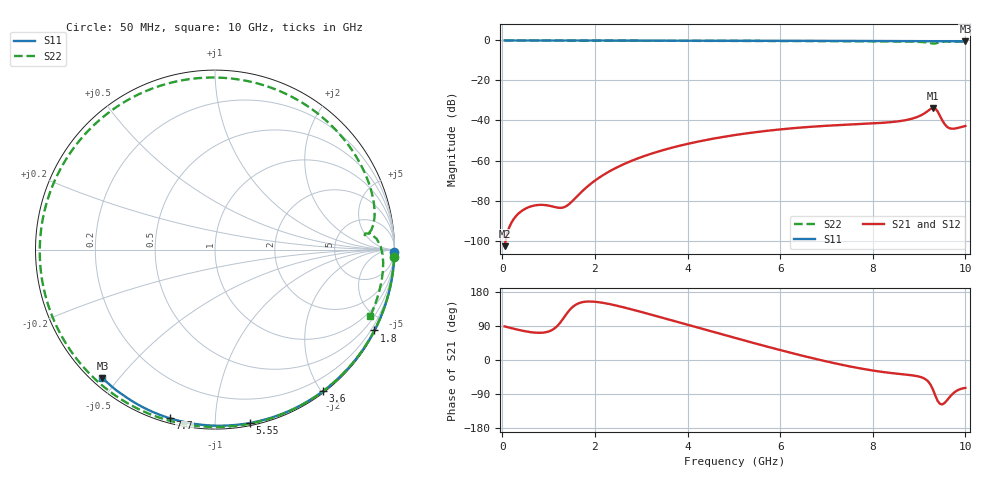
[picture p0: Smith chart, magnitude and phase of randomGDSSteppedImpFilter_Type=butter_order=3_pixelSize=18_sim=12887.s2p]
! freq	dB(S11)	phase(S11)	dB(S12)	phase(S12)
!  dB(S21)	phase(S21)	dB(S22)	phase(S22)
!S-par simulation data
#  GHz  S  DB  R 50
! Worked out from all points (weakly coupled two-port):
!   200 points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, 50 MHz to 10 GHz, reference 50 ohm
!   highest |S21| = -33.68 dB at 9.3 GHz (marker M1); lowest = -102.8 dB at 50 MHz (marker M2)
!   lowest |S11| = -0.4 dB at 10 GHz (marker M3), VSWR 39.65, Z = 1.52 - j22.6 ohm
!   |S11| at or under -10 dB: nowhere
!   |S22| runs from -1.5 to 0.0 dB; largest |S21 - S12| = 0
!   S11 on the Smith chart (normalised r, x): 50 MHz: open; 1.8 GHz: 0.04, -4.18; 3.6 GHz: 0.02, -2.02; 5.55 GHz: 0.02, -1.22; 7.7 GHz: 0.02, -0.77; 10 GHz: 0.03, -0.45
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0.05  -0.00 -0.8  -102.81 88.7  -102.81 88.7  -0.00 -2.4
0.7  -0.01 -10.6  -82.45 72.3  -82.45 72.3  -0.04 -33.1
1.5  -0.03 -22.5  -80.56 137.9  -80.56 137.9  -0.08 -68.6
1.75  -0.03 -26.2  -74.82 153.1  -74.82 153.1  -0.09 -79.1
1.8  -0.03 -26.9  -73.77 153.9  -73.77 153.9  -0.10 -81.1
2.45  -0.05 -36.4  -63.74 144.0  -63.74 144.0  -0.12 -106.5
3.4  -0.07 -49.8  -55.29 113.4  -55.29 113.4  -0.15 -140.1
3.6  -0.07 -52.6  -53.98 106.6  -53.98 106.6  -0.16 -146.8
4.35  -0.09 -62.8  -49.98 81.0  -49.98 81.0  -0.19 -171.2
5.05  -0.11 -72.1  -47.18 57.4  -47.18 57.4  -0.23 166.3
5.55  -0.13 -78.6  -45.61 40.8  -45.61 40.8  -0.26 150.0
6.1  -0.15 -85.5  -44.23 23.1  -44.23 23.1  -0.29 131.5
6.7  -0.18 -92.9  -43.09 4.8  -43.09 4.8  -0.33 110.2
7.2  -0.21 -99.0  -42.37 -9.2  -42.37 -9.2  -0.36 91.5
7.7  -0.24 -104.9  -41.80 -21.5  -41.80 -21.5  -0.40 71.8
8.35  -0.29 -112.5  -40.91 -33.7  -40.91 -33.7  -0.47 44.8
8.95  -0.34 -119.4  -38.32 -42.4  -38.32 -42.4  -0.66 18.4
9.3  -0.38 -123.3  -33.68 -78.2  -33.68 -78.2  -1.54 5.5
9.4  -0.37 -124.4  -35.46 -107.9  -35.46 -107.9  -1.20 5.8
9.55  -0.39 -126.2  -41.76 -113.5  -41.76 -113.5  -0.59 -1.7
9.65  -0.40 -127.3  -43.82 -99.3  -43.82 -99.3  -0.51 -6.9
10  -0.44 -131.3  -42.74 -73.5  -42.74 -73.5  -0.53 -23.0
